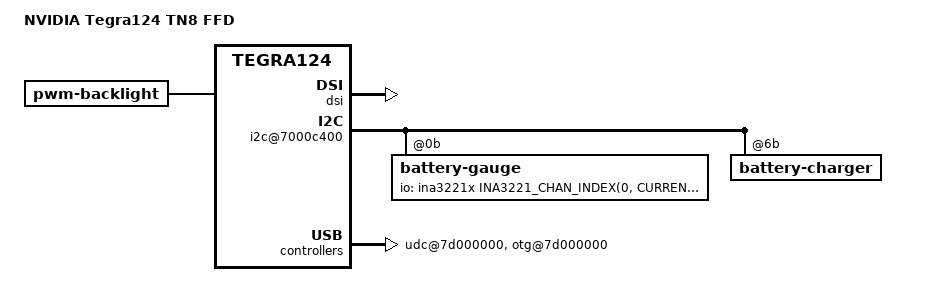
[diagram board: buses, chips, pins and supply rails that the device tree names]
/*
 * arch/arm/boot/dts/tegra124-tn8-p1761-1270-a03.dts
 *
 * Copyright (c) 2014-2015, NVIDIA CORPORATION.  All rights reserved.
 *
 * This program is free software; you can redistribute it and/or modify
 * it under the terms of the GNU General Public License as published by
 * the Free Software Foundation; either version 2 of the License, or
 * (at your option) any later version.
 *
 * This program is distributed in the hope that it will be useful, but WITHOUT
 * ANY WARRANTY; without even the implied warranty of MERCHANTABILITY or
 * FITNESS FOR A PARTICULAR PURPOSE.  See the GNU General Public License for
 * more details.
 *
 * You should have received a copy of the GNU General Public License along
 * with this program; if not, write to the Free Software Foundation, Inc.,
 * 51 Franklin Street, Fifth Floor, Boston, MA  02110-1301, USA.
 */
/dts-v1/;

#include "tegra124-tn8.dtsi"
#include "tegra124-platforms/tegra124-tn8-emc-p1761-1270-a00.dtsi"
#include "tegra124-platforms/tegra124-tn8-power-tree-e1936-1000-a03.dtsi"
#include "tegra124-platforms/tegra124-tn8-sensor-p1761-1270-a03.dtsi"
#include "tegra124-platforms/tegra124-tn8-pinmux-p1761-1470-a00.dtsi"
#include "tegra124-platforms/tegra124-tn8-gpio-p1761-1470-a00.dtsi"
#include "tegra124-platforms/tegra124-tn8-keys-p1761-1270-a03.dtsi"
#include "tegra124-platforms/tegra124-tn8-sysedp-p1761-1270-a03.dtsi"
#include "tegra124-platforms/tegra124-tn8-powermon-p1761-a02.dtsi"
#include "tegra124-platforms/tegra124-tn8-dfll-p1761-1270-a03.dtsi"
#include "tegra124-platforms/tegra124-tn8-camera-p1761-1270-a03.dtsi"
#include "panel-a-wxga-8-0.dtsi"
#include "panel-a-wuxga-8-0.dtsi"
#include "tegra124-platforms/tegra124-tn8-hdmi-p1761-1270-a03.dtsi"
#include "tegra124-platforms/tegra124-tn8-thermal-zone-p1761-1270-a00.dtsi"
#include <dt-bindings/iio/meter/ina3221x.h>
#include "tegra124-platforms/tegra124-tn8-usb-devices.dtsi"
#include "tegra124-platforms/tegra124-tn8-cmu-p1761-1270-a00.dtsi"
#include "tegra124-platforms/tegra124-tn8-comms.dtsi"

/ {
	model = "NVIDIA Tegra124 TN8 FFD";
	compatible = "nvidia,tn8", "nvidia,tegra124";
	nvidia,dtsfilename = __FILE__;
	nvidia,boardids = "1761:1270:3";
	#address-cells = <2>;
	#size-cells = <2>;

	chosen {
		bootargs = "tegraid=40.0.0.00.00 vmalloc=256M video=tegrafb console=ttyS0,115200n8 earlyprintk";
		linux,initrd-start = <0x85000000>;
		linux,initrd-end = <0x851bc400>;
	};

	firmware {
		android {
			compatible = "android,firmware";
			hardware = "tn8";
		};
	};

	host1x {
		/* tegradc.0 */
		dc@54200000 {
			status = "okay";
			nvidia,dc-flags = <TEGRA_DC_FLAG_ENABLED>;
			nvidia,emc-clk-rate = <204000000>;
			nvidia,cmu-enable = <1>;
			nvidia,low-v-win = <0x2>;
			nvidia,fb-bpp = <32>; /* bits per pixel */
			nvidia,fb-flags = <TEGRA_FB_FLIP_ON_PROBE>;
		};
		/* tegradc.1 */
		dc@54240000 {
			status = "okay";
			nvidia,dc-flags = <TEGRA_DC_FLAG_ENABLED>;
			nvidia,emc-clk-rate = <300000000>;
			nvidia,cmu-enable = <1>;
			nvidia,fb-bpp = <32>; /* bits per pixel */
			nvidia,fb-flags = <TEGRA_FB_FLIP_ON_PROBE>;
		};
		dsi {
			nvidia,dsi-controller-vs = <DSI_VS_1>;
			status = "okay";
			panel-a-wxga-8-0 {
				nvidia,dsi-boardinfo = <1761 0 0 0>;
				nvidia,panel-rst-gpio = <&gpio TEGRA_GPIO(H, 3) 0>; /* PH3 */
				nvidia,panel-bl-pwm-gpio = <&gpio TEGRA_GPIO(H, 1) 0>; /* PH1 */
				disp-default-out {
					nvidia,out-rotation = <180>;
				};
			};
			panel-a-wuxga-8-0 {
				nvidia,dsi-boardinfo = <1761 0 0 1>;
				nvidia,panel-rst-gpio = <&gpio TEGRA_GPIO(N, 4) 0>; /* PN4 */
				nvidia,panel-bl-pwm-gpio = <&gpio TEGRA_GPIO(H, 1) 0>; /* PH1 */
				disp-default-out {
					nvidia,out-rotation = <180>;
					nvidia,out-flags = <TEGRA_DC_OUT_CONTINUOUS_MODE TEGRA_DC_OUT_INITIALIZED_MODE>;
				};
				smartdimmer {
					status = "disabled";
				};
			};
		};
	};

	psy_extcon {
		power-supply,y-cable-extcon-dev = "tegra-otg";
	};

	usb-devices {
		maxim-charger {
			maxim,max-board-vbus-voltage-uv = <12000000>;
		};
	};

	i2c@7000c400 {
		battery-gauge@0b {
			onsemi,kernel-threshold-soc = <2>;
			onsemi,kernel-maximum-soc = <99>;
			io-channels = <&ina3221x INA3221_CHAN_INDEX(0, CURRENT, NORMAL)>;
			io-channel-names = "battery-current";
			dt-override-status-odm-data = <0x00C00000 0x00400000>;
		};
		battery-charger@6b {
			charger {
				ti,charge-voltage-limit-millivolt = <4352>;
				ti,temp-range = <10 15 25 45 50 60>;
				ti,charge-thermal-voltage-limit = <4352 4352 4352 4352 4200 4200>;
				ti,charge-current-limit = <520 1040 2600 5200 2600 520>;
				ti,soc-range = <50 60 70 80 85 90 95 101>;
				ti,input-voltage-soc-limit = <4200 4280 4360 4440 4520 4600 4680 4760>;
				ti,charge-term-current-limit-milliamp = <1>;
				dt-override-status-odm-data = <0x00C00000 0x00400000>;
			};
		};
	};

	i2c@7000d000 {
		tps65913 {
			thermal {
				status = "okay";
			};

			pmic {
				regulators {
					ldo3 {
						regulator-min-microvolt = <3300000>;
						regulator-max-microvolt = <3300000>;
						regulator-enable-ramp-delay = <3000>;
						ti,disable-pull-down;
					};
				};
			};
		};
	};

	sysedp_batmon_calc {
		 status = "okay";
	};

	thermal-zones {
		PMIC-Die {
			status = "okay";
		};

		Battery {
			thermal-sensors = <&fg_lc709203f>;
			dt-override-status-odm-data = <0x00C00000 0x00400000>;
		};
	};

	regulators {
		regulator@8  {
			vin-supply = <&ldo3_reg>;
			regulator-disable-parent-after-enable;
		};
	};
	backlight {
		compatible = "pwm-backlight";
		status = "okay";
		panel-a-wuxga-8-0-bl {
			/* Kernel applies bl_measured[] to map 125 to 135 for
			 *  backlight linearity.
			 * Setting kernel default brightness level to 125 to
			 *  match bootloader default brightness level 135 for
			 *  seamless boot.
			 * For detail, see bl-measured property in
			 *  /backlight/panel-a-wuxga-8-0-bl.
			 */
			default-brightness = <125>;
		};
	};

	pwm@7000a000 {
		pwm,use-pretty-good-alogorithm;
	};

	udc@7d000000 {
		nvidia,id-detection-type = <1>;
		nvidia,enable-pmu-vbus-detection;
		nvidia,enable-aca-rid-detection;
		extcon-cables = <&extcon_cable_xlate 0 &extcon_cable_xlate 2 &extcon_cable_xlate 5>;
		extcon-cable-names = "vbus", "aca-rb", "aca-rc";
		#extcon-cells = <1>;
		status = "okay";
	};

	otg@7d000000 {
		nvidia,enable-pmu-vbus-detection;
		nvidia,id-detection-type = <1>;
		nvidia,enable-y-cable-detection;
		nvidia,enable-aca-rid-detection;
		extcon-cables = <&extcon_cable_xlate 0 &extcon_cable_xlate 1 &extcon_cable_xlate 2 &extcon_cable_xlate 3 &extcon_cable_xlate 4 &extcon_cable_xlate 5>;
		extcon-cable-names = "vbus", "id", "aca-ra", "y-cable", "aca-rb", "aca-rc";
		#extcon-cells = <1>;
		status = "okay";
	};

	ehci@7d000000 {
		nvidia,port-otg;
		nvidia,has-hostpc;
		nvidia,turn_off_vbus_on_lp0;
		nvidia,id-detection-type = <2>;
		nvidia,hssync-start-delay = <0>;
		nvidia,idle-wait-delay = <17>;
		nvidia,elastic-limit = <16>;
		nvidia,term-range-adj = <6>;
		nvidia,xcvr-setup = <15>;
		nvidia,xcvr-lsfslew = <2>;
		nvidia,xcvr-lsrslew = <2>;
		nvidia,xcvr-use-fuses;
		nvidia,vbus-oc-map = <4>;
		nvidia,xcvr-setup-offset = <0>;
		status = "disabled";
	};

	camera-pcl {
		profiles {
			ov5693_1: ov5693@2_0010 {
				use_of_node = "yes";
				dev_name = "ov5693";
				num = <0>;
				avdd_ov5693-supply = <&ldo4_reg>;
				vdd_af1-supply = <&ldo7_reg>;
				dovdd-supply = <&vdd_cam_af>;
				reset-gpios = <&gpio TEGRA_GPIO(BB, 5) 0>;
			};
			ov5693_2: ov5693@2_0036 {
				use_of_node = "yes";
				dev_name = "ov5693";
				num = <1>;
				vana-supply = <&ldo7_reg>;
				vif-supply = <&vdd_cam_af>;
				cam2-gpios = <&gpio TEGRA_GPIO(BB, 6) 0>;
			};
		};
	};
};

